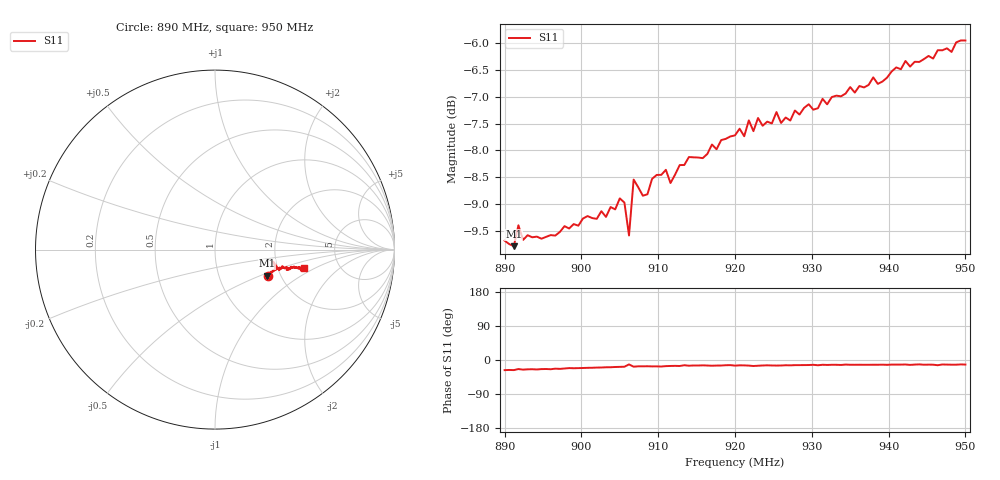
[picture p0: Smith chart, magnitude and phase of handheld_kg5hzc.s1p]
# HZ S RI R 50
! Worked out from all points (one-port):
!   101 points, 890 MHz to 950 MHz, reference 50 ohm
!   lowest |S11| = -9.8 dB at 891.2 MHz (marker M1), VSWR 1.96, Z = 85.1 - j27.6 ohm
!   |S11| at or under -10 dB: nowhere
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8.9e8  0.2929 -0.1475
8.912e8  0.2896 -0.1454
8.918e8  0.3099 -0.1372
8.924e8  0.2966 -0.141
8.978e8  0.3127 -0.129
9.032e8  0.3259 -0.1134
9.05e8  0.3413 -0.1117
9.056e8  0.339 -0.1084
9.062e8  0.3247 -0.0671
9.068e8  0.3563 -0.1133
9.08e8  0.3459 -0.1039
9.11e8  0.3668 -0.1063
9.116e8  0.3573 -0.1006
9.128e8  0.3712 -0.1051
9.134e8  0.3747 -0.0922
9.2e8  0.3975 -0.1054
9.212e8  0.3979 -0.1009
9.218e8  0.4107 -0.1082
9.224e8  0.3991 -0.1136
9.23e8  0.4122 -0.1112
9.26e8  0.4089 -0.1058
9.278e8  0.4217 -0.1016
9.35e8  0.4453 -0.0992
9.428e8  0.4647 -0.1065
9.44e8  0.4718 -0.0967
9.464e8  0.4797 -0.1176
9.47e8  0.4833 -0.1013
9.5e8  0.4932 -0.1051
